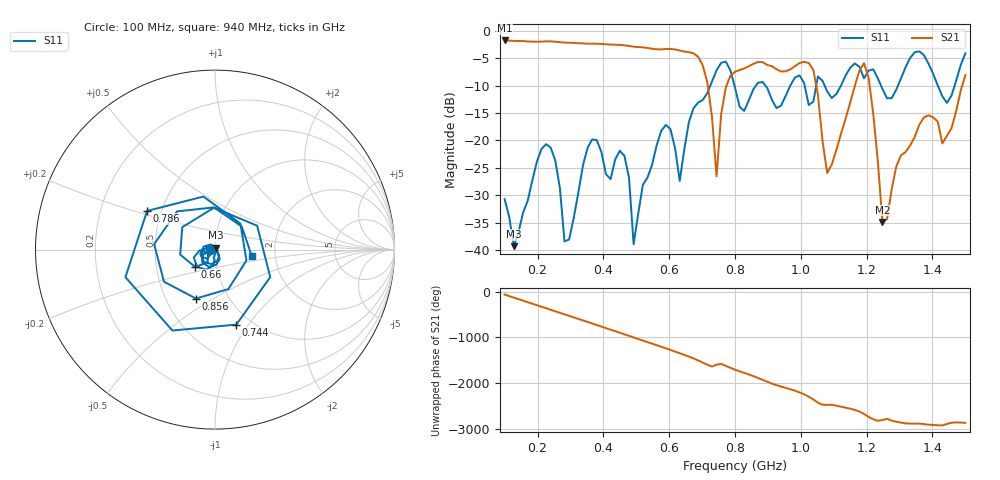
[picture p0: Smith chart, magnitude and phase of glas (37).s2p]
! NanoVNA-App
! Date: 2025-09-26 09:39:07
! Start: 100MHz Stop: 1,5GHz Points: 101
! S-Parameter data: F S11 S21 S12 S22
# Hz S RI R 50
!  Frequency  S11_Real  S11_Imag  S21_Real  S21_Imag  S12_Real  S12_Imag  S22_Real  S22_Imag
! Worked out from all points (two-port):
!   101 points, 100 MHz to 1.5 GHz, reference 50 ohm
!   highest |S21| = -1.79 dB at 100 MHz (marker M1); lowest = -34.9 dB at 1.248 GHz (marker M2)
!   |S21| within 3 dB of the highest: start of sweep to 688.2 MHz
!   lowest |S11| = -39.3 dB at 128 MHz (marker M3), VSWR 1.02, Z = 50.3 + j1.05 ohm
!   |S11| at or under -10 dB: start of sweep to 725.2 MHz; 798.3 MHz to 863.9 MHz (65.59 MHz wide, 7.89 % of centre); 892.2 MHz to 968.1 MHz (75.97 MHz wide, 8.17 % of centre) (the widest 3 of 7)
!   S12 and S22 are empty: the file has one direction only
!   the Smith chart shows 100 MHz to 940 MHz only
!   S11 on the Smith chart (normalised r, x): 100 MHz: 0.94, -0.01; 660 MHz: 0.79, -0.15; 744 MHz: 0.85, -0.88; 786 MHz: 0.42, +0.22; 856 MHz: 0.70, -0.42; 940 MHz: 1.51, -0.11
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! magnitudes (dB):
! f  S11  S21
! 100 MHz  -30.7  -1.8
! 128 MHz  -39.3  -1.9
! 212 MHz  -21.6  -2.0
! 282 MHz  -38.4  -2.2
! 338 MHz  -24.6  -2.3
! 464 MHz  -22.8  -2.7
! 492 MHz  -38.9  -2.9
! 576 MHz  -18.3  -3.4
! 632 MHz  -27.4  -3.6
! 660 MHz  -16.6  -3.9
! 716 MHz  -11.4  -9.4
! 744 MHz  -7.2  -26.6
! 786 MHz  -7.2  -8.2
! 800 MHz  -10.4  -7.5
! 856 MHz  -10.7  -6.0
! 940 MHz  -13.7  -7.4
! 1.038 GHz  -13.0  -7.1
! 1.08 GHz  -11.1  -26.0
! 1.192 GHz  -8.7  -5.9
! 1.248 GHz  -10.6  -34.9
! 1.276 GHz  -12.3  -28.9
! 1.5 GHz  -4.1  -8.1
